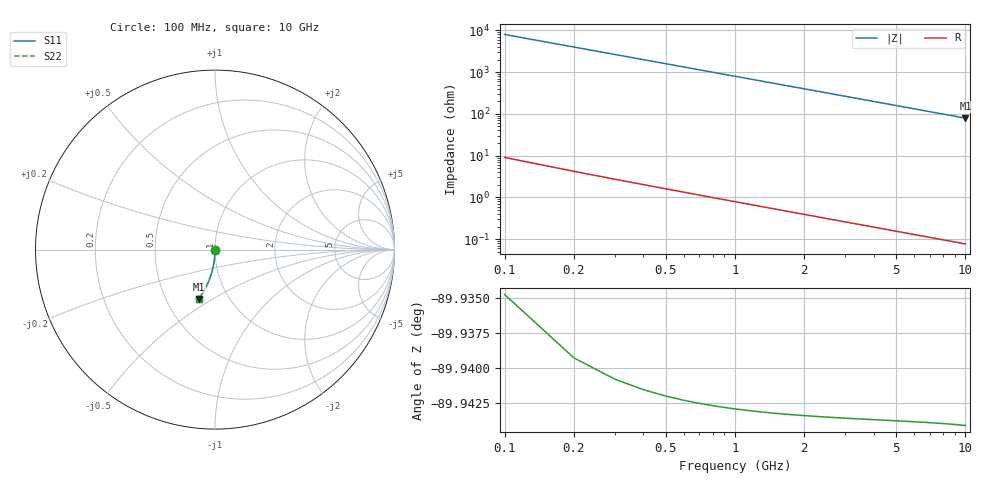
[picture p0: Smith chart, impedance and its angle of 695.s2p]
# Hz S RI R 50.00
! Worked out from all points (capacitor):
!   100 points, 100 MHz to 10 GHz, reference 50 ohm
!   read as one part in shunt: C = 200 fF near 100 MHz
!   lowest |Z| = 79 ohm at 10 GHz (marker M1)
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1e8  1.91e-05 -0.00301  1 -0.00327  1 -0.00327  1.91e-05 -0.00301
2e8  -1.34e-05 -0.00603  0.9999 -0.00655  0.9999 -0.00655  -1.34e-05 -0.00603
3e8  -6.56e-05 -0.00904  0.9999 -0.00982  0.9999 -0.00982  -6.56e-05 -0.00904
4e8  -0.000138 -0.0121  0.9998 -0.0131  0.9998 -0.0131  -0.000138 -0.0121
5e8  -0.000229 -0.0151  0.9997 -0.0164  0.9997 -0.0164  -0.000229 -0.0151
6e8  -0.000341 -0.0181  0.9996 -0.0196  0.9996 -0.0196  -0.000341 -0.0181
7e8  -0.000472 -0.0211  0.9995 -0.0229  0.9995 -0.0229  -0.000472 -0.0211
8e8  -0.000623 -0.0241  0.9993 -0.0262  0.9993 -0.0262  -0.000623 -0.0241
9e8  -0.000794 -0.0271  0.9991 -0.0295  0.9991 -0.0295  -0.000794 -0.0271
1.1e9  -0.00119 -0.0331  0.9987 -0.036  0.9987 -0.036  -0.00119 -0.0331
1.4e9  -0.00194 -0.0421  0.998 -0.0458  0.998 -0.0458  -0.00194 -0.0421
1.8e9  -0.00322 -0.0541  0.9967 -0.0588  0.9967 -0.0588  -0.00322 -0.0541
2.1e9  -0.00438 -0.0631  0.9955 -0.0686  0.9955 -0.0686  -0.00438 -0.0631
2.5e9  -0.00619 -0.075  0.9937 -0.0815  0.9937 -0.0815  -0.00619 -0.075
2.9e9  -0.00832 -0.0868  0.9916 -0.0944  0.9916 -0.0944  -0.00832 -0.0868
3.4e9  -0.0114 -0.1015  0.9885 -0.1104  0.9885 -0.1104  -0.0114 -0.1015
4.2e9  -0.0173 -0.1247  0.9825 -0.1357  0.9825 -0.1357  -0.0173 -0.1247
5.1e9  -0.0254 -0.1503  0.9745 -0.1637  0.9745 -0.1637  -0.0254 -0.1503
5.9e9  -0.0337 -0.1725  0.9661 -0.188  0.9661 -0.188  -0.0337 -0.1725
6.7e9  -0.0431 -0.194  0.9567 -0.2117  0.9567 -0.2117  -0.0431 -0.194
8.4e9  -0.0663 -0.2375  0.9334 -0.2597  0.9334 -0.2597  -0.0663 -0.2375
1e10  -0.0917 -0.2751  0.9079 -0.3017  0.9079 -0.3017  -0.0917 -0.2751
